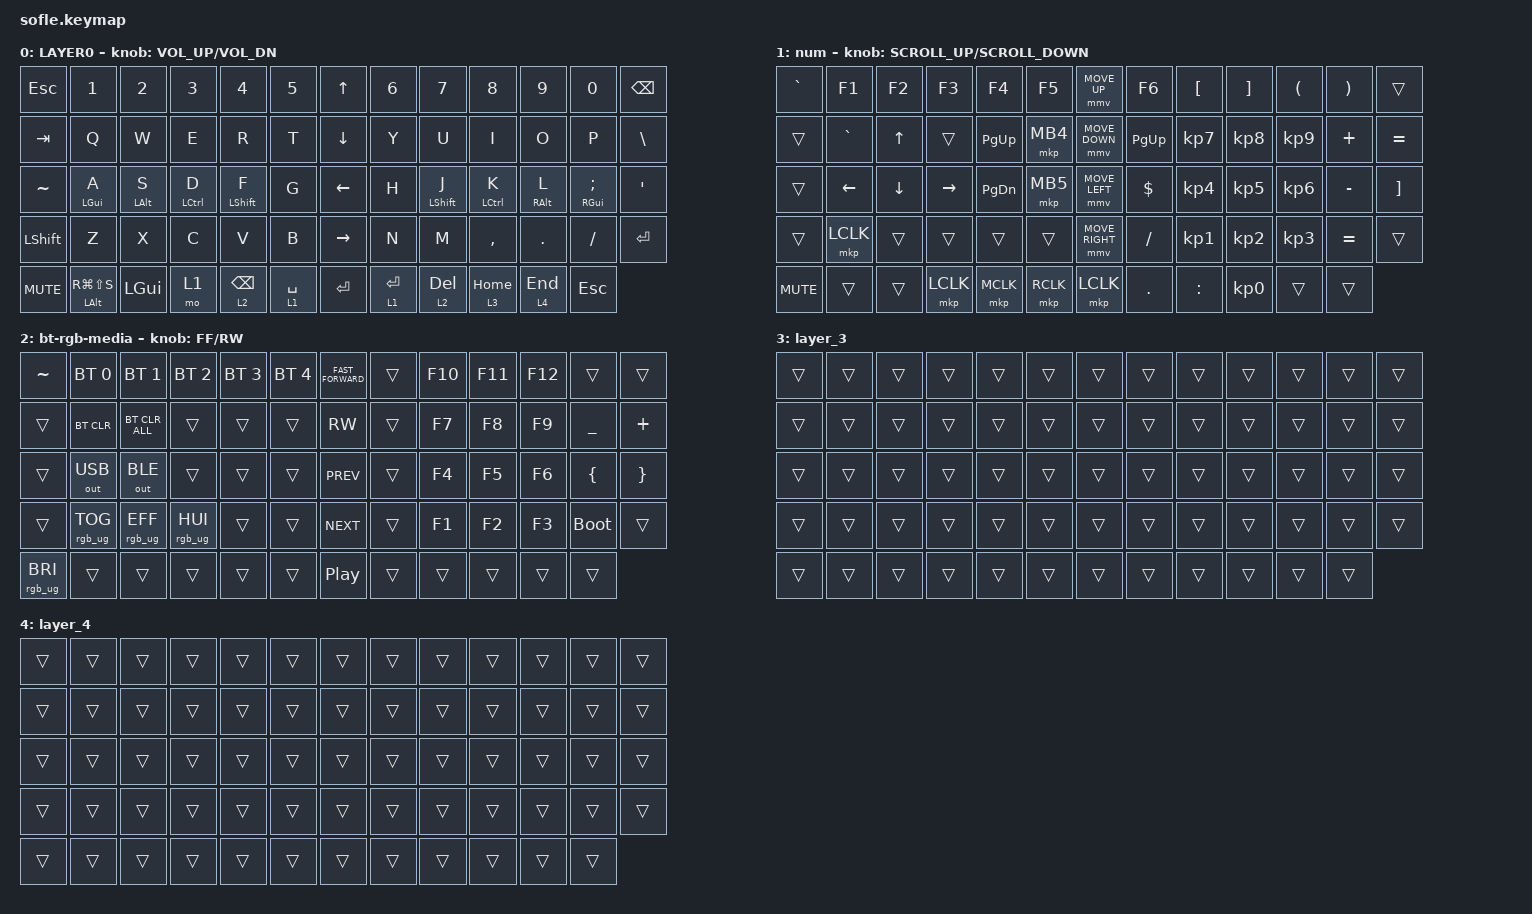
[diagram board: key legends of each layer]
#include <behaviors/mouse_keys.dtsi>
#include <dt-bindings/zmk/mouse.h>
#include <behaviors.dtsi>
#include <dt-bindings/zmk/bt.h>
#include <dt-bindings/zmk/keys.h>
#include <dt-bindings/zmk/outputs.h>
#include <dt-bindings/zmk/pointing.h>
#include <dt-bindings/zmk/pointing.h>
#include <dt-bindings/zmk/rgb.h>

#define ZMK_MOUSE_DEFAULT_MOVE_VAL 1200  // 600
#define ZMK_MOUSE_DEFAULT_SCRL_VAL 20    // 10
#define U_MS_U &mmv MOVE_UP
#define U_MS_D &mmv MOVE_DOWN
#define U_MS_L &mmv MOVE_LEFT
#define U_MS_R &mmv MOVE_RIGHT
#define ZMK_MOUSE_DEFAULT_MOVE_VAL 1200  //  600
#define ZMK_MOUSE_DEFAULT_SCRL_VAL 20    // 10

/ {
    behaviors {
        mmv {
            acceleration-exponent = <1>;      // 1
            time-to-max-speed-ms = <900>;    // 40
            delay-ms = <0>;                   // 0
        };

        msc {
            acceleration-exponent = <1>;      // 0
            time-to-max-speed-ms = <400>;      // 500
            delay-ms = <0>;                   //   10
        };
    };

    media-playback:

    media-playback {
        compatible = "zmk,behavior-sensor-rotate";
        #sensor-binding-cells = <0>;
        bindings = <&kp C_FF>, <&kp C_RW>;

        label = "MEDIA-PLAYBACK";
    };

    media-playback:

    combos {
        compatible = "zmk,combos";

        Caps {
            bindings = <&kp CAPS>;
            key-positions = <27 28>;
        };

        Tab-SD {
            bindings = <&kp TAB>;
            key-positions = <28 29>;
        };
    };

    keymap {
        compatible = "zmk,keymap";

        layer0 {
            bindings = <
&kp ESC     &kp N1                  &kp N2        &kp N3       &kp N4           &kp N5         &kp UP_ARROW     &kp N6       &kp N7        &kp N8       &kp N9           &kp N0                   &kp BACKSPACE
&kp TAB     &kp Q                   &kp W         &kp E        &kp R            &kp T          &kp DOWN_ARROW   &kp Y        &kp U         &kp I        &kp O            &kp P                    &kp BSLH
&kp TILDE   &mt LEFT_GUI A          &mt LALT S    &mt LCTRL D  &mt LSHFT F      &kp G          &kp LEFT_ARROW   &kp H        &mt LSHFT J   &mt LCTRL K  &mt RIGHT_ALT L  &mt RIGHT_GUI SEMICOLON  &kp APOS
&kp LSHFT   &kp Z                   &kp X         &kp C        &kp V            &kp B          &kp RIGHT_ARROW  &kp N        &kp M         &kp COMMA    &kp PERIOD       &kp FSLH                 &kp ENTER
&kp C_MUTE  &mt LEFT_ALT RG(LS(S))  &kp LEFT_GUI  &mo 1        &lt 2 BACKSPACE  &lt 1 SPACE    &kp ENTER        &lt 1 ENTER  &lt 2 DELETE  &lt 3 HOME   &lt 4 END        &kp ESCAPE
            >;

            sensor-bindings = <&inc_dec_kp C_VOLUME_UP C_VOL_DN>;
            display-name = "LAYER0";
        };

        nav-num {
            bindings = <
&kp GRAVE   &kp F1          &kp F2          &kp F3           &kp F4     &kp F5       &mmv MOVE_UP     &kp F6      &kp LEFT_BRACKET  &kp RIGHT_BRACKET  &kp LEFT_PARENTHESIS  &kp RIGHT_PARENTHESIS  &trans
&trans      &kp GRAVE       &kp UP_ARROW    &trans           &kp PG_UP  &mkp MB4     &mmv MOVE_DOWN   &kp PG_UP   &kp KP_NUMBER_7   &kp KP_NUMBER_8    &kp KP_NUMBER_9       &kp PLUS               &kp EQUAL
&trans      &kp LEFT_ARROW  &kp DOWN_ARROW  &kp RIGHT_ARROW  &kp PG_DN  &mkp MB5     &mmv MOVE_LEFT   &kp DOLLAR  &kp KP_NUMBER_4   &kp KP_NUMBER_5    &kp KP_NUMBER_6       &kp MINUS              &kp RIGHT_BRACKET
&trans      &mkp LCLK       &trans          &trans           &trans     &trans       &mmv MOVE_RIGHT  &kp SLASH   &kp KP_NUMBER_1   &kp KP_NUMBER_2    &kp KP_NUMBER_3       &kp EQUAL              &trans
&kp C_MUTE  &trans          &trans          &mkp LCLK        &mkp MCLK  &mkp RCLK    &mkp LCLK        &kp PERIOD  &kp COLON         &kp KP_NUMBER_0    &trans                &trans
            >;

            display-name = "num";
            sensor-bindings = <&inc_dec_kp K_SCROLL_UP K_SCROLL_DOWN>;
        };

        bt-rgb-media {
            bindings = <
&kp TILDE        &bt BT_SEL 0     &bt BT_SEL 1     &bt BT_SEL 2     &bt BT_SEL 3  &bt BT_SEL 4    &kp C_FAST_FORWARD  &trans  &kp F10  &kp F11  &kp F12  &trans       &trans
&trans           &bt BT_CLR       &bt BT_CLR_ALL   &trans           &trans        &trans          &kp C_RW            &trans  &kp F7   &kp F8   &kp F9   &kp UNDER    &kp PLUS
&trans           &out OUT_USB     &out OUT_BLE     &trans           &trans        &trans          &kp C_PREV          &trans  &kp F4   &kp F5   &kp F6   &kp LBRC     &kp RBRC
&trans           &rgb_ug RGB_TOG  &rgb_ug RGB_EFF  &rgb_ug RGB_HUI  &trans        &trans          &kp C_NEXT          &trans  &kp F1   &kp F2   &kp F3   &bootloader  &trans
&rgb_ug RGB_BRI  &trans           &trans           &trans           &trans        &trans          &kp C_PLAY_PAUSE    &trans  &trans   &trans   &trans   &trans
            >;

            sensor-bindings = <&inc_dec_kp C_FF C_RW>;
        };

        layer_3 {
            bindings = <
&trans  &trans  &trans  &trans  &trans  &trans    &trans  &trans  &trans  &trans  &trans  &trans  &trans
&trans  &trans  &trans  &trans  &trans  &trans    &trans  &trans  &trans  &trans  &trans  &trans  &trans
&trans  &trans  &trans  &trans  &trans  &trans    &trans  &trans  &trans  &trans  &trans  &trans  &trans
&trans  &trans  &trans  &trans  &trans  &trans    &trans  &trans  &trans  &trans  &trans  &trans  &trans
&trans  &trans  &trans  &trans  &trans  &trans    &trans  &trans  &trans  &trans  &trans  &trans
            >;
        };

        layer_4 {
            bindings = <
&trans  &trans  &trans  &trans  &trans  &trans    &trans  &trans  &trans  &trans  &trans  &trans  &trans
&trans  &trans  &trans  &trans  &trans  &trans    &trans  &trans  &trans  &trans  &trans  &trans  &trans
&trans  &trans  &trans  &trans  &trans  &trans    &trans  &trans  &trans  &trans  &trans  &trans  &trans
&trans  &trans  &trans  &trans  &trans  &trans    &trans  &trans  &trans  &trans  &trans  &trans  &trans
&trans  &trans  &trans  &trans  &trans  &trans    &trans  &trans  &trans  &trans  &trans  &trans
            >;
        };
    };
};
